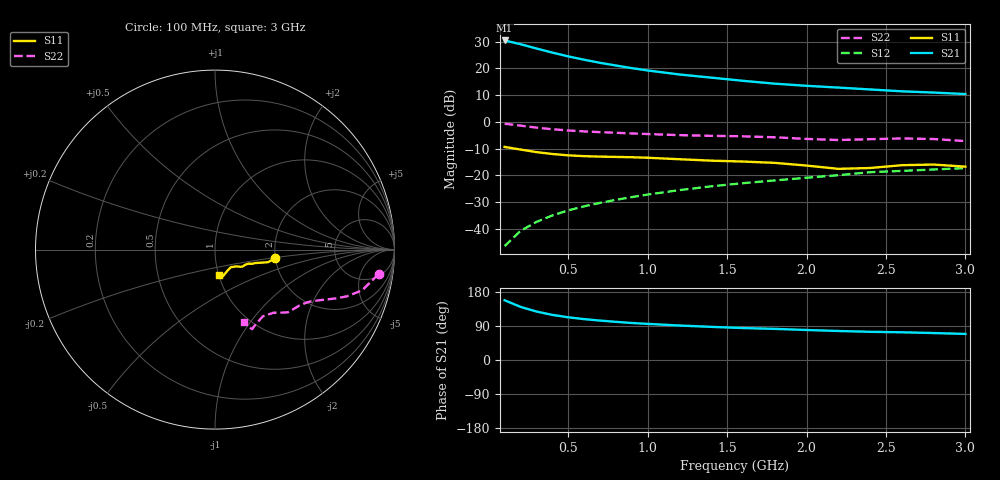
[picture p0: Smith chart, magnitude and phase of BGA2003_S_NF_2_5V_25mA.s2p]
! Title: BGA2003
! Bias: V(Vs_Out)=2.5V; I(CTRL)=25mA controlled / noise data included
! Company: Philips Semiconductors NL
! User: Quality&Reliability DiscreteSemiConductors-Nijmegen
! Measure time: 15 Jan 1999 / 14:08:12
#  MHz  S  MA  R 50
! Freq  S11  S21  S12  S22  :
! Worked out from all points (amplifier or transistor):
!   20 points, 100 MHz to 3 GHz, reference 50 ohm
!   highest |S21| = 30.4 dB at 100 MHz (marker M1)
!   |S21| within 3 dB of that: start of sweep to 300.2 MHz
!   unconditionally stable (mu >= 1): 739.7 MHz to end of sweep
!   at 400 MHz: K = 0.88, MSG = 30.4 dB, |S12| = -35.0 dB
!   at 1.2 GHz: K = 1.08, MAG = 19.9 dB, |S12| = -25.5 dB
!   at 3 GHz: K = 1.08, MAG = 12.2 dB, |S12| = -17.3 dB
!   lowest NFmin = 2.40 dB at 900 MHz
100  0.3397 -8.1  33.14 157.6  0.00475 87.1  0.9213 -8.6
200  0.3034 -13.4  28.22 140.3  0.009172 86.8  0.8502 -15.5
300  0.2719 -15.5  23.47 127.9  0.01347 86.3  0.7791 -19.5
400  0.2506 -17.1  19.67 119.1  0.01781 86.5  0.7272 -21.9
500  0.2365 -18.5  16.7 112.7  0.02207 86.5  0.6897 -23.6
600  0.2283 -19.6  14.46 107.9  0.02634 86.7  0.6627 -25.0
700  0.2239 -20.6  12.67 104.0  0.0306 86.7  0.642 -26.1
800  0.2211 -21.0  11.27 100.7  0.03489 86.6  0.6243 -27.2
900  0.218 -21.3  10.08 97.7  0.0392 86.6  0.6072 -28.4
1000  0.2132 -21.6  9.11 95.3  0.0437 86.5  0.5915 -29.8
1200  0.2001 -23.2  7.669 91.0  0.05297 86.1  0.5641 -33.5
1400  0.1882 -26.9  6.699 87.5  0.06235 85.8  0.5474 -37.5
1600  0.1811 -31.1  5.841 84.3  0.07138 85.4  0.5364 -40.6
1800  0.1711 -34.0  5.165 82.1  0.08037 84.9  0.5142 -43.1
2000  0.1523 -37.9  4.709 79.2  0.09013 83.6  0.4792 -47.3
2200  0.1323 -47.6  4.365 76.6  0.1007 82.8  0.4571 -54.3
2400  0.1371 -60.2  4.027 74.4  0.1146 81.6  0.4735 -61.1
2600  0.1548 -73.5  3.716 73.1  0.1211 80.9  0.489 -65.1
2800  0.1591 -77.4  3.523 71.1  0.1288 80.6  0.4772 -65.8
3000  0.1453 -81.5  3.303 68.8  0.1363 79.7  0.4364 -68.2
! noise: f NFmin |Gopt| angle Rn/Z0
900  2.4  0.22  -160.1  0.15
1000  2.41  0.25  -160.1  0.15
1800  2.45  0.28  -124.7  0.23
2000  2.5  0.24  -124.6  0.26
2400  2.93  0.22  -123.2  0.29
